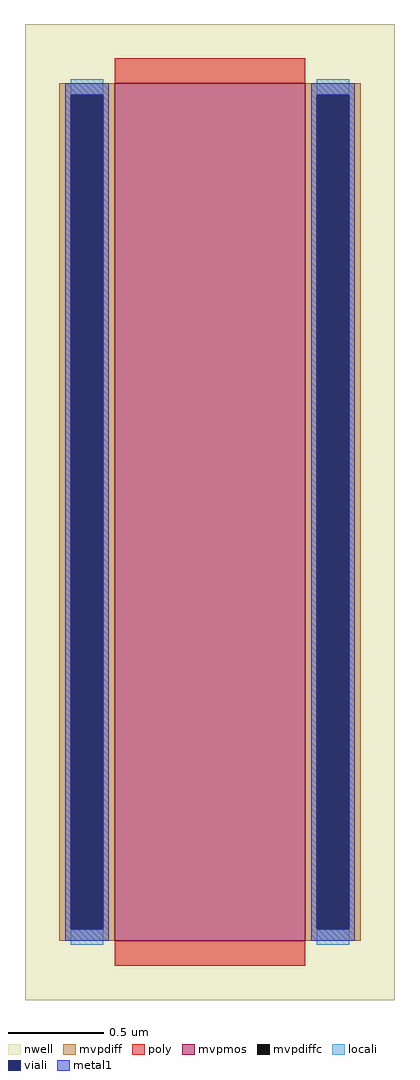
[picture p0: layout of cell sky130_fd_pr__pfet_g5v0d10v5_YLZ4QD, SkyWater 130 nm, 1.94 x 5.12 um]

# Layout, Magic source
magic
tech sky130A
<< nwell >>
rect -97 -256 97 256
<< mvpmos >>
rect -50 -225 50 225
<< mvpdiff >>
rect -79 219 -50 225
rect -79 -219 -73 219
rect -56 -219 -50 219
rect -79 -225 -50 -219
rect 50 219 79 225
rect 50 -219 56 219
rect 73 -219 79 219
rect 50 -225 79 -219
<< mvpdiffc >>
rect -73 -219 -56 219
rect 56 -219 73 219
<< poly >>
rect -50 225 50 238
rect -50 -238 50 -225
<< locali >>
rect -73 219 -56 227
rect -73 -227 -56 -219
rect 56 219 73 227
rect 56 -227 73 -219
<< viali >>
rect -73 -219 -56 219
rect 56 -219 73 219
<< metal1 >>
rect -76 219 -53 225
rect -76 -219 -73 219
rect -56 -219 -53 219
rect -76 -225 -53 -219
rect 53 219 76 225
rect 53 -219 56 219
rect 73 -219 76 219
rect 53 -225 76 -219
<< properties >>
string gencell sky130_fd_pr__pfet_g5v0d10v5
string library sky130
string parameters w 4.5 l 1 m 1 nf 1 diffcov 100 polycov 100 guard 0 glc 1 grc 1 gtc 1 gbc 1 tbcov 100 rlcov 100 topc 0 botc 0 poverlap 0 doverlap 1 lmin 0.50 wmin 0.42 class mosfet compatible {sky130_fd_pr__pfet_01v8  sky130_fd_pr__pfet_01v8_lvt sky130_fd_pr__pfet_01v8_hvt  sky130_fd_pr__pfet_g5v0d10v5} full_metal 1 viasrc 100 viadrn 100 viagate 100 viagb 0 viagr 0 viagl 0 viagt 0
<< end >>
